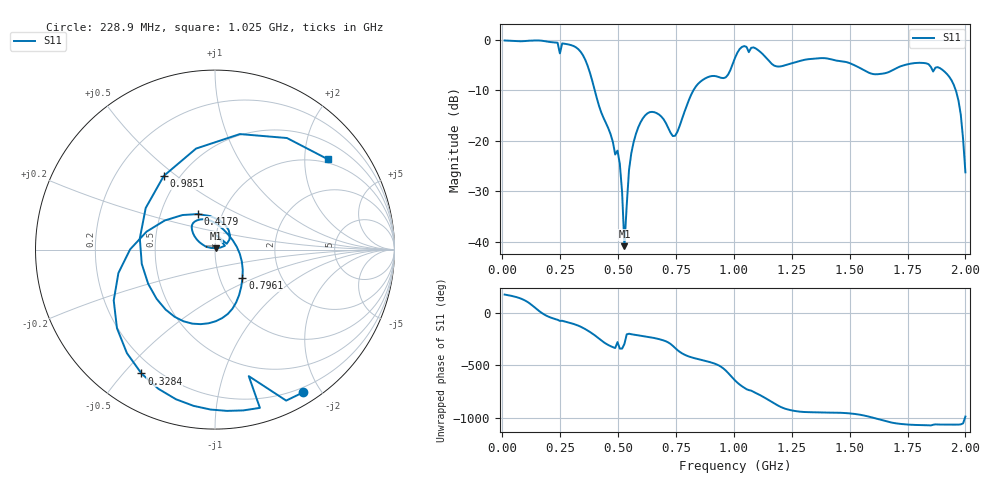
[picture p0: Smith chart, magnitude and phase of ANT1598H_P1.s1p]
!Created with skrf (http://scikit-rf.org).
# Hz S RI R 50.0
!freq ReS11 ImS11
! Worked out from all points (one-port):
!   201 points, 10 MHz to 2 GHz, reference 50 ohm
!   lowest |S11| = -40.8 dB at 527.4 MHz (marker M1), VSWR 1.02, Z = 50.4 + j0.829 ohm
!   |S11| at or under -10 dB: 399.1 MHz to 825.9 MHz (426.7 MHz wide, 69.7 % of centre); 1.958 GHz to end of sweep
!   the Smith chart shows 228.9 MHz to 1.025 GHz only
!   S11 on the Smith chart (normalised r, x): 228.9 MHz: 0.14, -1.79; 328.4 MHz: 0.14, -0.56; 417.9 MHz: 0.77, +0.32; 796 MHz: 1.28, -0.43; 985.1 MHz: 0.41, +0.45; 1.025 GHz: 0.90, +2.57
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1e7  -0.9768 0.0711
7.965e7  -0.7115 0.6467
1.1945e8  0.0093 0.9755
1.692e8  0.9745 0.0426
2.289e8  0.4925 -0.7948
2.5875e8  0.2501 -0.8819
3.284e8  -0.41 -0.6901
3.682e8  -0.5381 -0.1302
4.1795e8  -0.0962 0.198
5.075e8  0.0552 0.0213
5.274e8  0.00382 0.00822
5.473e8  -0.049 0.0154
5.9705e8  -0.1221 0.0905
7.5625e8  0.1216 0.0151
7.9605e8  0.153 -0.159
9.1545e8  -0.2245 -0.3747
9.851e8  -0.2852 0.4107
1.005e9  0.1387 0.6437
1.0249e9  0.6274 0.5041
1.07465e9  0.7817 -0.2725
1.1244e9  0.1772 -0.697
1.1841e9  -0.4854 -0.2438
1.25375e9  -0.5094 0.2887
1.5025e9  -0.3191 0.4868
1.75125e9  0.5448 0.1691
1.9403e9  0.3782 0.115
1.9801e9  0.1711 0.0588
2e9  -0.00291 0.0486
